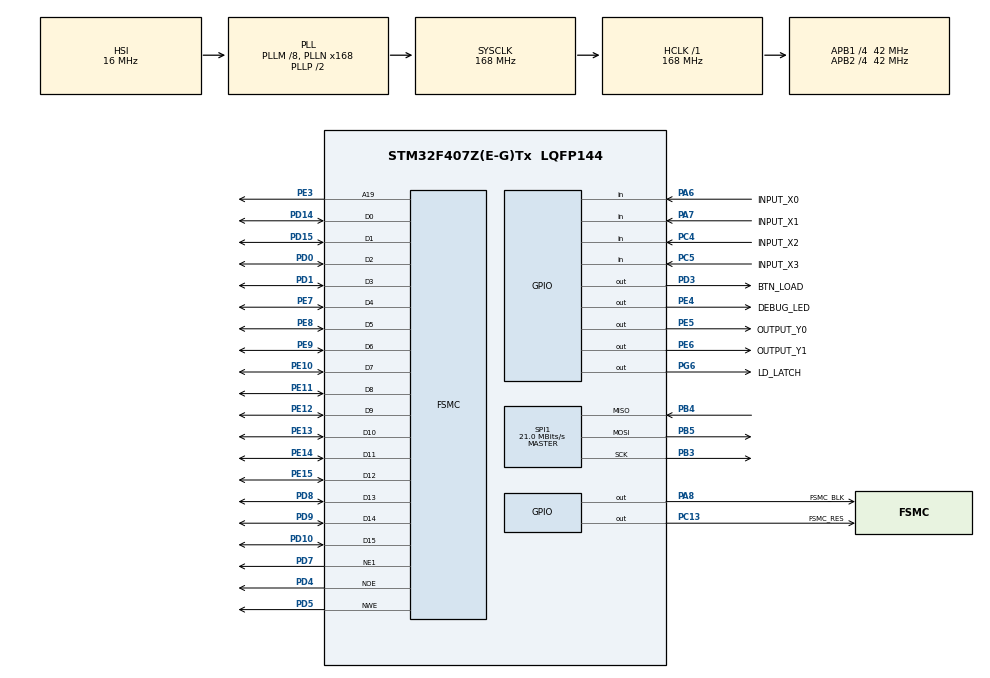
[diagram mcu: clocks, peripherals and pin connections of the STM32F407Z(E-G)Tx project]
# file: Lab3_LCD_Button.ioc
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FSMC.AddressSetupTime1=0xf
FSMC.BusTurnAroundDuration1=0
FSMC.DataSetupTime1=60
FSMC.ExtendedAddressSetupTime1=8
FSMC.ExtendedBusTurnAroundDuration1=0
FSMC.ExtendedDataSetupTime1=9
FSMC.ExtendedMode1=FSMC_EXTENDED_MODE_ENABLE
Mcu.Family=STM32F4
Mcu.Name=STM32F407Z(E-G)Tx
Mcu.Package=LQFP144
NVIC.PriorityGroup=NVIC_PRIORITYGROUP_4
NVIC.TIM2_IRQn=true\:0\:0\:false\:false\:true\:true\:true\:true
NVIC.TIM3_IRQn=true\:0\:0\:false\:false\:true\:true\:true\:true
NVIC.TIM4_IRQn=true\:0\:0\:false\:false\:true\:true\:true\:true
PA13.Mode=Serial_Wire
PA13.Signal=SYS_JTMS-SWDIO
PA14.Mode=Serial_Wire
PA14.Signal=SYS_JTCK-SWCLK
PA6.GPIO_Label=INPUT_X0
PA6.Signal=GPIO_Input
PA7.GPIO_Label=INPUT_X1
PA7.Signal=GPIO_Input
PA8.GPIO_Label=FSMC_BLK
PA8.Signal=GPIO_Output
PB3.Mode=Full_Duplex_Master
PB3.Signal=SPI1_SCK
PB4.Mode=Full_Duplex_Master
PB4.Signal=SPI1_MISO
PB5.Mode=Full_Duplex_Master
PB5.Signal=SPI1_MOSI
PC13-ANTI_TAMP.GPIO_Label=FSMC_RES
PC13-ANTI_TAMP.Signal=GPIO_Output
PC4.GPIO_Label=INPUT_X2
PC4.Signal=GPIO_Input
PC5.GPIO_Label=INPUT_X3
PC5.Signal=GPIO_Input
PD0.Signal=FSMC_D2_DA2
PD1.Signal=FSMC_D3_DA3
PD10.Signal=FSMC_D15_DA15
PD14.Signal=FSMC_D0_DA0
PD15.Signal=FSMC_D1_DA1
PD3.GPIO_Label=BTN_LOAD
PD3.Signal=GPIO_Output
PD4.Signal=FSMC_NOE
PD5.Signal=FSMC_NWE
PD7.Mode=NorPsramChipSelect1_1
PD7.Signal=FSMC_NE1
PD8.Signal=FSMC_D13_DA13
PD9.Signal=FSMC_D14_DA14
PE10.Signal=FSMC_D7_DA7
PE11.Signal=FSMC_D8_DA8
PE12.Signal=FSMC_D9_DA9
PE13.Signal=FSMC_D10_DA10
PE14.Signal=FSMC_D11_DA11
PE15.Signal=FSMC_D12_DA12
PE3.Signal=FSMC_A19
PE4.GPIO_Label=DEBUG_LED
PE4.Signal=GPIO_Output
PE5.GPIO_Label=OUTPUT_Y0
PE5.Signal=GPIO_Output
PE6.GPIO_Label=OUTPUT_Y1
PE6.Signal=GPIO_Output
PE7.Signal=FSMC_D4_DA4
PE8.Signal=FSMC_D5_DA5
PE9.Signal=FSMC_D6_DA6
PG6.GPIO_Label=LD_LATCH
PG6.Signal=GPIO_Output
PH0-OSC_IN.Mode=HSE-External-Oscillator
PH0-OSC_IN.Signal=RCC_OSC_IN
PH1-OSC_OUT.Mode=HSE-External-Oscillator
PH1-OSC_OUT.Signal=RCC_OSC_OUT
ProjectManager.HeapSize=0x200
ProjectManager.StackSize=0x400
ProjectManager.TargetToolchain=STM32CubeIDE
RCC.48MHZClocksFreq_Value=84000000
RCC.AHBFreq_Value=168000000
RCC.APB1CLKDivider=RCC_HCLK_DIV4
RCC.APB1Freq_Value=42000000
RCC.APB1TimFreq_Value=84000000
RCC.APB2CLKDivider=RCC_HCLK_DIV4
RCC.APB2Freq_Value=42000000
RCC.APB2TimFreq_Value=84000000
RCC.CortexFreq_Value=168000000
RCC.HCLKFreq_Value=168000000
RCC.HSE_VALUE=8000000
RCC.HSI_VALUE=16000000
RCC.LSE_VALUE=32768
RCC.PLLM=8
RCC.PLLN=168
RCC.SYSCLKFreq_VALUE=168000000
RCC.SYSCLKSource=RCC_SYSCLKSOURCE_PLLCLK
RCC.VCOOutputFreq_Value=336000000
SH.FSMC_A19.0=FSMC_A19,A19_1
SH.FSMC_D0_DA0.0=FSMC_D0,16b-d1
SH.FSMC_D10_DA10.0=FSMC_D10,16b-d1
SH.FSMC_D11_DA11.0=FSMC_D11,16b-d1
SH.FSMC_D12_DA12.0=FSMC_D12,16b-d1
SH.FSMC_D13_DA13.0=FSMC_D13,16b-d1
SH.FSMC_D14_DA14.0=FSMC_D14,16b-d1
SH.FSMC_D15_DA15.0=FSMC_D15,16b-d1
SH.FSMC_D1_DA1.0=FSMC_D1,16b-d1
SH.FSMC_D2_DA2.0=FSMC_D2,16b-d1
SH.FSMC_D3_DA3.0=FSMC_D3,16b-d1
SH.FSMC_D4_DA4.0=FSMC_D4,16b-d1
SH.FSMC_D5_DA5.0=FSMC_D5,16b-d1
SH.FSMC_D6_DA6.0=FSMC_D6,16b-d1
SH.FSMC_D7_DA7.0=FSMC_D7,16b-d1
SH.FSMC_D8_DA8.0=FSMC_D8,16b-d1
SH.FSMC_D9_DA9.0=FSMC_D9,16b-d1
SH.FSMC_NOE.0=FSMC_NOE,Lcd1
SH.FSMC_NWE.0=FSMC_NWE,Lcd1
SPI1.BaudRatePrescaler=SPI_BAUDRATEPRESCALER_2
SPI1.CalculateBaudRate=21.0 MBits/s
SPI1.Direction=SPI_DIRECTION_2LINES
SPI1.Mode=SPI_MODE_MASTER
SPI1.VirtualType=VM_MASTER
TIM2.Period=100-1
TIM2.Prescaler=840-1
TIM3.Period=100-1
TIM3.Prescaler=840-1
TIM4.Period=100-1
TIM4.Prescaler=840-1
VP_TIM2_VS_ClockSourceINT.Mode=Internal
VP_TIM3_VS_ClockSourceINT.Mode=Internal
VP_TIM4_VS_ClockSourceINT.Mode=Internal
board=custom

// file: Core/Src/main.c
/* USER CODE BEGIN Header */
/**
 ******************************************************************************
 * @file           : main.c
 * @brief          : Main program body
 ******************************************************************************
 * @attention
 *
 * <h2><center>&copy; Copyright (c) 2023 STMicroelectronics.
 * All rights reserved.</center></h2>
 *
 * This software component is licensed by ST under BSD 3-Clause license,
 * the "License"; You may not use this file except in compliance with the
 * License. You may obtain a copy of the License at:
 *                        opensource.org/licenses/BSD-3-Clause
 *
 ******************************************************************************
 */
/* USER CODE END Header */
#include "main.h"
#include "global.h"
#include "spi.h"
#include "tim.h"
#include "gpio.h"
#include "fsmc.h"

/* USER CODE BEGIN Includes */
#include "software_timer.h"
#include "led_7seg.h"
#include "button.h"
#include "lcd.h"
#include "picture.h"
#include "fsm.h"
#include "traffic.h"
/* USER CODE END Includes */

//extern SPI_HandleTypeDef hspi1;
//extern TIM_HandleTypeDef htim2;
//extern TIM_HandleTypeDef htim3;
//extern TIM_HandleTypeDef htim4;

/* USER CODE BEGIN PV */
int numberOfPushButton;
/* USER CODE END PV */

void SystemClock_Config(void);

/* USER CODE BEGIN PFP */
void init_system();

int IsButtonUp();
int IsButtonDown();
void TestButtonMatrix();
void TestLcd();
/* USER CODE END PFP */

int main(void) {

	/* MCU Configuration--------------------------------------------------------*/

	/* Reset of all peripherals, Initializes the Flash interface and the Systick. */
	HAL_Init();

	/* Configure the system clock */
	SystemClock_Config();

	/* Initialize all configured peripherals */

	/* USER CODE BEGIN 2 */
	MX_GPIO_Init();
	MX_TIM2_Init();
	MX_TIM3_Init();
	MX_TIM4_Init();
	MX_SPI1_Init();
	MX_FSMC_Init();

	init_system();
	lcd_clear(WHITE);
	lcd_fill(55, 45, 105, 175, BLACK);
	lcd_fill(115, 45, 165, 175, BLACK);
//	TestLcd();

//	led_7seg_init();
//
//	led_7seg_set_digit(1, 0, 0);
//	led_7seg_set_digit(1, 1, 0);
//	led_7seg_set_digit(1, 2, 0);
//	led_7seg_set_digit(1, 3, 0);
	/* USER CODE END 2 */

	/* Infinite loop */
	/* USER CODE BEGIN WHILE */
	while (1) {
//		led_7seg_display();
//		if (timer2_flag == 1){
//			timer2_flag = 0;
//			test_led_traffic(1);
////			led_control(LEFT, CLEAR);
//		}
//		if (timer3_flag == 1){
//			timer3_flag = 0;
//			test_led_traffic(2);
////			led_control(LEFT, RED_LED);
//		}
//		if (timer4_flag == 1) {
//			timer4_flag = 0;
//			test_led_traffic(3);
//		}
		button_scan();
		auto_run();
		fsm_run();
		show_mode();
//		 TestButtonMatrix();
		/* USER CODE END WHILE */

	}
}

void SystemClock_Config(void) {
	RCC_OscInitTypeDef RCC_OscInitStruct = { 0 };
	RCC_ClkInitTypeDef RCC_ClkInitStruct = { 0 };

	/** Configure the main internal regulator output voltage
	 */
	__HAL_RCC_PWR_CLK_ENABLE();
	__HAL_PWR_VOLTAGESCALING_CONFIG(PWR_REGULATOR_VOLTAGE_SCALE1);

	/** Initializes the RCC Oscillators according to the specified parameters
	 * in the RCC_OscInitTypeDef structure.
	 */
	RCC_OscInitStruct.OscillatorType = RCC_OSCILLATORTYPE_HSI;
	RCC_OscInitStruct.HSIState = RCC_HSI_ON;
	RCC_OscInitStruct.HSICalibrationValue = RCC_HSICALIBRATION_DEFAULT;
	RCC_OscInitStruct.PLL.PLLState = RCC_PLL_ON;
	RCC_OscInitStruct.PLL.PLLSource = RCC_PLLSOURCE_HSI;
	RCC_OscInitStruct.PLL.PLLM = 8;
	RCC_OscInitStruct.PLL.PLLN = 168;
	RCC_OscInitStruct.PLL.PLLP = RCC_PLLP_DIV2;
	RCC_OscInitStruct.PLL.PLLQ = 4;
	if (HAL_RCC_OscConfig(&RCC_OscInitStruct) != HAL_OK) {
		Error_Handler();
	}

	/** Initializes the CPU, AHB and APB buses clocks
	 */
	RCC_ClkInitStruct.ClockType = RCC_CLOCKTYPE_HCLK | RCC_CLOCKTYPE_SYSCLK
			| RCC_CLOCKTYPE_PCLK1 | RCC_CLOCKTYPE_PCLK2;
	RCC_ClkInitStruct.SYSCLKSource = RCC_SYSCLKSOURCE_PLLCLK;
	RCC_ClkInitStruct.AHBCLKDivider = RCC_SYSCLK_DIV1;
	RCC_ClkInitStruct.APB1CLKDivider = RCC_HCLK_DIV4;
	RCC_ClkInitStruct.APB2CLKDivider = RCC_HCLK_DIV4;

	if (HAL_RCC_ClockConfig(&RCC_ClkInitStruct, FLASH_LATENCY_5) != HAL_OK) {
		Error_Handler();
	}
}

/* USER CODE BEGIN 4 */
void init_system() {
	button_init();
	led_7seg_init();
	lcd_init();

	timer2_init();
	timer2_set(6000);

	timer3_init();
	timer3_set(2000);

	timer4_init();
	timer4_set(50);
}

// Button example 1: a button is pressed 1 time (50ms).
int IsButtonDown() {
	if (button_count[0] == 1) {
		return 1;
	}
	return 0;
}

// Button example 2:
// Check if a button is pressed 1 time (50ms),
// or if it is held down for more than 1 second, in which case it returns 1 every 100ms.
int IsButtonUp() {
	if (button_count[1] == 1 || (button_count[1] > 20 && button_count[1] % 2 == 0)) {
		return 1;
	}
	return 0;
}

void TestButtonMatrix() {
	for (int i = 0; i < 16; i++) {
		if (button_count[i] != 0) {
			lcd_show_int_num(140, 105, i, 2, BRED, WHITE, 32);
		}
	}
}

void TestLcd() {
	lcd_fill(0, 0, 240, 20, BLUE);
	lcd_show_string_center(0, 2, "Hello World !!!", RED, BLUE, 16, 1);
	lcd_show_string(20, 30, "Test LCD Screen", WHITE, RED, 24, 0);
	lcd_draw_rectangle(20, 80, 100, 160, GREEN);
	lcd_draw_circle(160, 120, BRED, 40, 0);
	lcd_show_picture(80, 200, 90, 90, gImageLogo);
}
/* USER CODE END 4 */

void Error_Handler(void) {
	__disable_irq();
	while (1) {
	}
}
